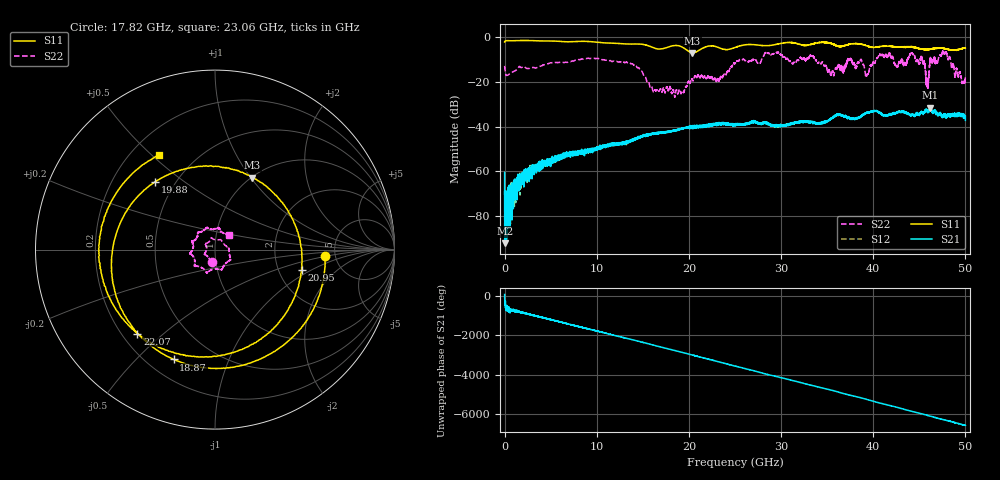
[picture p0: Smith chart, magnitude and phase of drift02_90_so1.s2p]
!Created with skrf (http://scikit-rf.org).
# Hz S RI R 50.0
!freq ReS11 ImS11 ReS21 ImS21 ReS12 ImS12 ReS22 ImS22
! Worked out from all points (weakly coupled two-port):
!   10001 points, 300 kHz to 50 GHz, reference 50 ohm
!   highest |S21| = -31.44 dB at 46.21 GHz (marker M1); lowest = -92.3 dB at 15.3 MHz (marker M2)
!   lowest |S11| = -6.9 dB at 20.38 GHz (marker M3), VSWR 2.65, Z = 50.6 + j50.9 ohm
!   |S11| at or under -10 dB: nowhere
!   |S22| runs from -26.8 to -6.1 dB; largest |S21 - S12| = 0.0032
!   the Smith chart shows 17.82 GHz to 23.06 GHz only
!   S11 on the Smith chart (normalised r, x): 17.82 GHz: 4.15, -0.49; 18.87 GHz: 0.30, -0.65; 19.88 GHz: 0.39, +0.39; 20.95 GHz: 2.69, -0.81; 22.07 GHz: 0.26, -0.41; 23.06 GHz: 0.31, +0.53
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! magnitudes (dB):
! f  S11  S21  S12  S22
! 300 kHz  -2.1  -60.5  -68.5  -12.7
! 15.3 MHz  -2.0  -92.3  -78.6  -13.5
! 255.3 MHz  -1.4  -73.0  -86.0  -17.0
! 3.235 GHz  -1.5  -59.3  -58.3  -13.6
! 8.335 GHz  -1.7  -51.8  -51.7  -9.7
! 13.71 GHz  -2.9  -46.0  -46.4  -11.7
! 16.67 GHz  -5.2  -42.8  -42.8  -23.8
! 17.82 GHz  -4.2  -42.4  -42.1  -23.3
! 18.87 GHz  -3.7  -41.4  -41.2  -24.2
! 19.88 GHz  -5.9  -40.5  -40.4  -20.2
! 20.38 GHz  -6.9  -39.5  -40.6  -18.9
! 20.95 GHz  -6.1  -39.4  -39.8  -17.0
! 22.07 GHz  -3.9  -38.8  -39.6  -17.3
! 23.06 GHz  -4.3  -38.8  -38.7  -18.9
! 25 GHz  -4.5  -39.0  -39.0  -11.6
! 33.34 GHz  -3.0  -37.9  -37.8  -8.3
! 39.33 GHz  -3.8  -33.5  -33.7  -16.6
! 41.67 GHz  -3.9  -34.6  -34.7  -7.6
! 45.86 GHz  -5.4  -33.2  -33.0  -18.5
! 46.21 GHz  -5.2  -31.4  -31.8  -9.7
! 47.75 GHz  -4.9  -34.9  -34.6  -7.3
! 50 GHz  -4.7  -37.2  -35.8  -18.2
